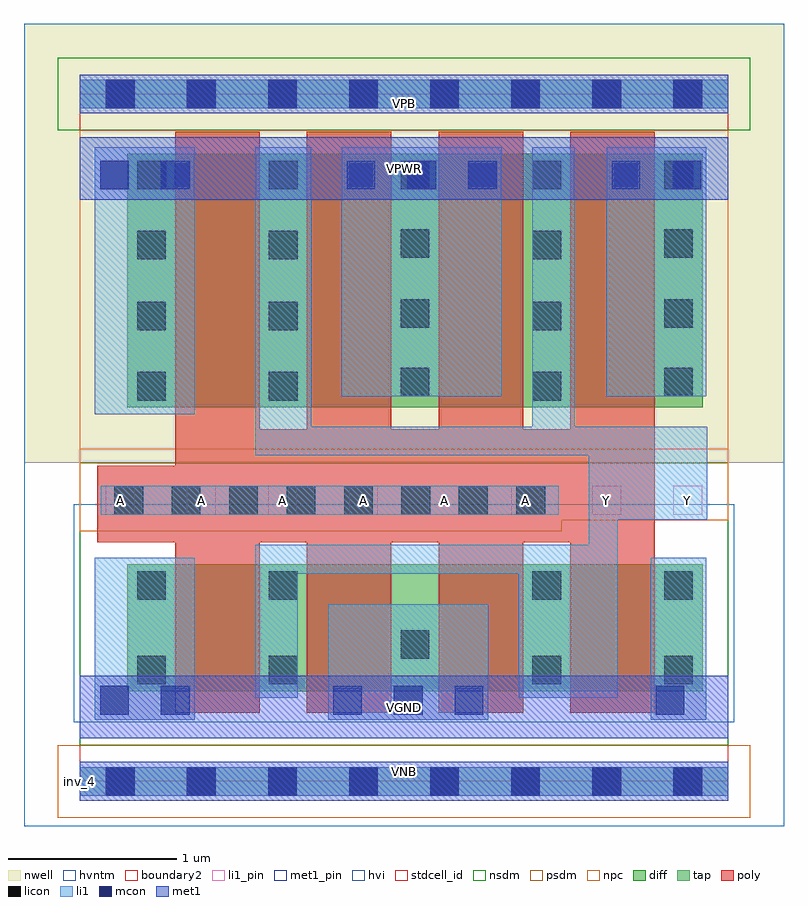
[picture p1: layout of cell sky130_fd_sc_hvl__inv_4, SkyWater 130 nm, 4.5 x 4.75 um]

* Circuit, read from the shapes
.subckt sky130_fd_sc_hvl__inv_4 A VGND VNB VPB VPWR Y
XM1 Y A VGND VNB sky130_fd_pr__nfet_g5v0d10v5 w=0.75 l=0.5 m=4
XM2 Y A VPWR VPB sky130_fd_pr__pfet_g5v0d10v5 w=1.5 l=0.5 m=4
.ends

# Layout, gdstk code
import gdstk
lib = gdstk.Library(unit=1e-6, precision=1e-09)
def R(c, l, rs):  # rectangles x0, y0, x1, y1
    for r in rs: c.add(gdstk.rectangle(r[:2], r[2:], *l))
def A(c, l, x, y, w, h, nx, ny, dx, dy):  # array of equal rectangles
    R(c, l, [(x+i*dx, y+j*dy, x+i*dx+w, y+j*dy+h) for i in range(nx) for j in range(ny)])
def P(c, l, *ps):  # polygons
    for p in ps: c.add(gdstk.Polygon(p, *l))
nwell = (64, 20)
diff = (65, 20)
tap = (65, 44)
poly = (66, 20)
licon = (66, 44)
li1_pin = (67, 16)
li1 = (67, 20)
mcon = (67, 44)
met1_pin = (68, 16)
met1 = (68, 20)
hvi = (75, 20)
stdcell_id = (81, 4)
nsdm = (93, 44)
psdm = (94, 20)
npc = (95, 20)
hvntm = (125, 20)
boundary2 = (236, 0)

sky130_fd_sc_hvl__inv_4 = lib.new_cell('sky130_fd_sc_hvl__inv_4')
R(sky130_fd_sc_hvl__inv_4, nwell, [(-0.33,1.885,4.17,4.485)])
R(sky130_fd_sc_hvl__inv_4, diff, [(0.28,0.535,3.69,1.285), (0.28,2.215,3.69,3.715)])
R(sky130_fd_sc_hvl__inv_4, tap, [(0,-0.085,3.84,0.085), (0,3.985,3.84,4.155)])
P(sky130_fd_sc_hvl__inv_4, poly, [(0.565,0.405),(0.565,1.415),(0.105,1.415),(0.105,1.87),(0.565,1.87),(0.565,3.845),(1.065,3.845),(1.065,2.085),(1.345,2.085),(1.345,3.845),(1.845,3.845),(1.845,2.085),(2.125,2.085),(2.125,3.845),(2.625,3.845),(2.625,2.085),(2.905,2.085),(2.905,3.845),(3.405,3.845),(3.405,0.405),(2.905,0.405),(2.905,1.415),(2.625,1.415),(2.625,0.405),(2.125,0.405),(2.125,1.415),(1.845,1.415),(1.845,0.405),(1.345,0.405),(1.345,1.415),(1.065,1.415),(1.065,0.405)])
A(sky130_fd_sc_hvl__inv_4, licon, 0.155, -0.085, 0.17, 0.17, 8, 2, 0.48, 4.07)
A(sky130_fd_sc_hvl__inv_4, licon, 0.205, 1.58, 0.17, 0.17, 8, 1, 0.34, 0)
A(sky130_fd_sc_hvl__inv_4, licon, 0.34, 3.505, 0.17, 0.17, 5, 1, 0.78, 0)
R(sky130_fd_sc_hvl__inv_4, licon, [(0.34,0.575,0.51,0.745), (1.12,0.575,1.29,0.745), (2.68,0.575,2.85,0.745), (3.46,0.575,3.63,0.745), (1.9,0.725,2.07,0.895), (0.34,1.075,0.51,1.245), (1.12,1.075,1.29,1.245), (2.68,1.075,2.85,1.245), (3.46,1.075,3.63,1.245), (0.34,2.255,0.51,2.425), (1.12,2.255,1.29,2.425), (2.68,2.255,2.85,2.425), (1.9,2.28,2.07,2.45), (3.46,2.28,3.63,2.45), (0.34,2.67,0.51,2.84), (1.12,2.67,1.29,2.84), (2.68,2.67,2.85,2.84), (1.9,2.685,2.07,2.855), (3.46,2.685,3.63,2.855), (0.34,3.09,0.51,3.26), (1.12,3.09,1.29,3.26), (2.68,3.09,2.85,3.26), (1.9,3.1,2.07,3.27), (3.46,3.1,3.63,3.27)])
A(sky130_fd_sc_hvl__inv_4, li1_pin, 0.155, 1.58, 0.17, 0.17, 8, 1, 0.48, 0)
R(sky130_fd_sc_hvl__inv_4, li1, [(0,-0.085,3.84,0.085), (0.09,0.365,0.68,1.325), (1.47,0.365,2.42,1.05), (3.38,0.365,3.71,1.325), (0.125,1.58,2.835,1.75), (0.09,2.175,0.68,3.755), (1.55,2.28,2.5,3.755), (3.12,2.28,3.71,3.755), (0,3.985,3.84,4.155)])
P(sky130_fd_sc_hvl__inv_4, li1, [(1.04,0.495),(1.04,1.4),(3.015,1.4),(3.015,1.93),(1.04,1.93),(1.04,3.755),(1.37,3.755),(1.37,2.1),(2.68,2.1),(2.68,3.755),(2.93,3.755),(2.93,2.1),(3.715,2.1),(3.715,1.55),(3.185,1.55),(3.185,0.495),(2.6,0.495),(2.6,1.23),(1.29,1.23),(1.29,0.495)])
A(sky130_fd_sc_hvl__inv_4, mcon, 1.5, 0.395, 0.17, 0.17, 3, 1, 0.36, 0)
A(sky130_fd_sc_hvl__inv_4, mcon, 1.58, 3.505, 0.17, 0.17, 3, 1, 0.36, 0)
R(sky130_fd_sc_hvl__inv_4, mcon, [(0.155,-0.085,0.325,0.085), (0.155,-0.085,0.325,0.085), (0.635,-0.085,0.805,0.085), (0.635,-0.085,0.805,0.085), (1.115,-0.085,1.285,0.085), (1.115,-0.085,1.285,0.085), (1.595,-0.085,1.765,0.085), (1.595,-0.085,1.765,0.085), (2.075,-0.085,2.245,0.085), (2.075,-0.085,2.245,0.085), (2.555,-0.085,2.725,0.085), (2.555,-0.085,2.725,0.085), (3.035,-0.085,3.205,0.085), (3.035,-0.085,3.205,0.085), (3.515,-0.085,3.685,0.085), (3.515,-0.085,3.685,0.085), (0.12,0.395,0.29,0.565), (0.48,0.395,0.65,0.565), (3.41,0.395,3.58,0.565), (0.12,3.505,0.29,3.675), (0.48,3.505,0.65,3.675), (3.15,3.505,3.32,3.675), (3.51,3.505,3.68,3.675), (0.155,3.985,0.325,4.155), (0.155,3.985,0.325,4.155), (0.635,3.985,0.805,4.155), (0.635,3.985,0.805,4.155), (1.115,3.985,1.285,4.155), (1.115,3.985,1.285,4.155), (1.595,3.985,1.765,4.155), (1.595,3.985,1.765,4.155), (2.075,3.985,2.245,4.155), (2.075,3.985,2.245,4.155), (2.555,3.985,2.725,4.155), (2.555,3.985,2.725,4.155), (3.035,3.985,3.205,4.155), (3.035,3.985,3.205,4.155), (3.515,3.985,3.685,4.155), (3.515,3.985,3.685,4.155)])
R(sky130_fd_sc_hvl__inv_4, met1_pin, [(0,0,3.84,0.115), (0,0.255,3.84,0.625), (0,3.445,3.84,3.815), (0,3.955,3.84,4.07)])
R(sky130_fd_sc_hvl__inv_4, met1, [(0,-0.115,3.84,0.115), (0,0.255,3.84,0.625), (0,3.445,3.84,3.815), (0,3.955,3.84,4.185)])
R(sky130_fd_sc_hvl__inv_4, hvi, [(-0.33,-0.265,4.17,4.485)])
R(sky130_fd_sc_hvl__inv_4, stdcell_id, [(0,0,3.84,4.07)])
R(sky130_fd_sc_hvl__inv_4, nsdm, [(0,0.215,3.84,1.885), (-0.13,3.855,3.97,4.285), (0,3.855,3.84,4.07)])
R(sky130_fd_sc_hvl__inv_4, psdm, [(-0.13,-0.215,3.97,0.215), (0,1.885,3.84,3.855)])
P(sky130_fd_sc_hvl__inv_4, npc, [(0,1.48),(0,1.97),(3.84,1.97),(3.84,1.545),(2.855,1.545),(2.855,1.48)])
R(sky130_fd_sc_hvl__inv_4, hvntm, [(-0.035,0.35,3.875,1.64)])
R(sky130_fd_sc_hvl__inv_4, boundary2, [(0,0,3.84,4.07)])
sky130_fd_sc_hvl__inv_4.add(gdstk.Label('Y', (3.12,1.665), layer=67, texttype=5))
sky130_fd_sc_hvl__inv_4.add(gdstk.Label('Y', (3.6,1.665), layer=67, texttype=5))
sky130_fd_sc_hvl__inv_4.add(gdstk.Label('A', (0.24,1.665), layer=67, texttype=5))
sky130_fd_sc_hvl__inv_4.add(gdstk.Label('A', (0.72,1.665), layer=67, texttype=5))
sky130_fd_sc_hvl__inv_4.add(gdstk.Label('A', (1.2,1.665), layer=67, texttype=5))
sky130_fd_sc_hvl__inv_4.add(gdstk.Label('A', (1.68,1.665), layer=67, texttype=5))
sky130_fd_sc_hvl__inv_4.add(gdstk.Label('A', (2.16,1.665), layer=67, texttype=5))
sky130_fd_sc_hvl__inv_4.add(gdstk.Label('A', (2.64,1.665), layer=67, texttype=5))
sky130_fd_sc_hvl__inv_4.add(gdstk.Label('inv_4', (0,0), layer=83, texttype=44))
sky130_fd_sc_hvl__inv_4.add(gdstk.Label('VGND', (1.92,0.44), layer=68, texttype=5))
sky130_fd_sc_hvl__inv_4.add(gdstk.Label('VNB', (1.92,0.058), layer=68, texttype=5))
sky130_fd_sc_hvl__inv_4.add(gdstk.Label('VPWR', (1.92,3.63), layer=68, texttype=5))
sky130_fd_sc_hvl__inv_4.add(gdstk.Label('VPB', (1.92,4.013), layer=68, texttype=5))

lib.write_gds('sky130_fd_sc_hvl__inv_4.gds')
